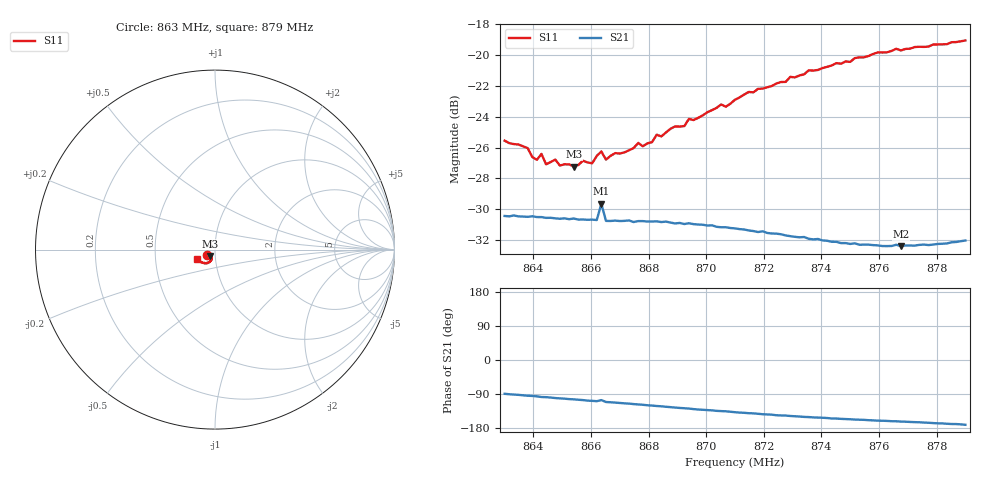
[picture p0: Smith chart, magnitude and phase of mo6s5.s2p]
# HZ S RI R 50
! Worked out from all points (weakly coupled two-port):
!   101 points, 863 MHz to 879 MHz, reference 50 ohm
!   highest |S21| = -29.64 dB at 866.36 MHz (marker M1); lowest = -32.4 dB at 876.76 MHz (marker M2)
!   lowest |S11| = -27.2 dB at 865.4 MHz (marker M3), VSWR 1.09, Z = 47.4 - j3.32 ohm
!   |S11| at or under -10 dB: start of sweep to end of sweep
!   S12 and S22 are empty: the file has one direction only
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8.63e8  -0.0419 -0.0321  0.000446 -0.0301  0 0  0 0
8.638e8  -0.0381 -0.0322  -0.00222 -0.0298  0 0  0 0
8.6412e8  -0.0327 -0.032  -0.00306 -0.0297  0 0  0 0
8.6428e8  -0.0333 -0.0342  -0.00399 -0.0296  0 0  0 0
8.6444e8  -0.0304 -0.0321  -0.00417 -0.0294  0 0  0 0
8.6476e8  -0.0312 -0.0336  -0.00534 -0.0291  0 0  0 0
8.6492e8  -0.0288 -0.033  -0.00579 -0.0289  0 0  0 0
8.654e8  -0.0259 -0.035  -0.00705 -0.0287  0 0  0 0
8.6572e8  -0.025 -0.0379  -0.00795 -0.0282  0 0  0 0
8.6604e8  -0.0233 -0.038  -0.00895 -0.0279  0 0  0 0
8.662e8  -0.0241 -0.0405  -0.00934 -0.0277  0 0  0 0
8.6636e8  -0.0174 -0.0455  -0.00899 -0.0317  0 0  0 0
8.6652e8  -0.0213 -0.0406  -0.0103 -0.0271  0 0  0 0
8.6844e8  -0.0193 -0.0509  -0.0153 -0.0243  0 0  0 0
8.6892e8  -0.0209 -0.0549  -0.0165 -0.0232  0 0  0 0
8.6924e8  -0.0213 -0.0548  -0.0172 -0.0225  0 0  0 0
8.694e8  -0.0214 -0.0583  -0.0176 -0.0224  0 0  0 0
8.71e8  -0.0271 -0.0663  -0.0203 -0.0184  0 0  0 0
8.7372e8  -0.046 -0.0762  -0.0222 -0.0121  0 0  0 0
8.7644e8  -0.0749 -0.0708  -0.0228 -0.00763  0 0  0 0
8.7676e8  -0.0778 -0.0682  -0.0229 -0.00721  0 0  0 0
8.79e8  -0.0985 -0.0521  -0.0247 -0.00393  0 0  0 0
